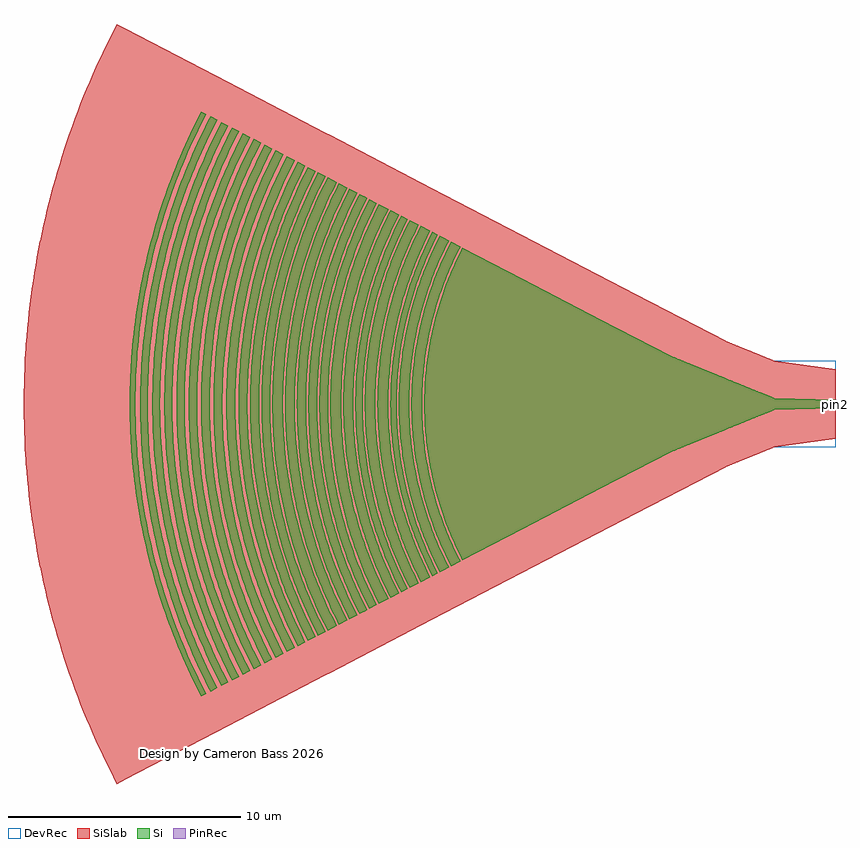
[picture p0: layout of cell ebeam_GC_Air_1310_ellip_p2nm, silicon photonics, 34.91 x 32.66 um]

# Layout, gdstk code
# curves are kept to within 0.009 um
import gdstk
lib = gdstk.Library(unit=1e-6, precision=1e-09)
def P(c, l, *ps):  # polygons
    for p in ps: c.add(gdstk.Polygon(p, *l))
Si = (1, 0)
PinRec = (1, 10)
SiSlab = (2, 0)
DevRec = (68, 0)

ebeam_gc_air_1310_ellip_ = lib.new_cell('ebeam_GC_Air_1310_ellip_p2nm')
P(ebeam_gc_air_1310_ellip_, Si, [(-16.049,-6.719),(-16.412,-5.97),(-16.786,-5.054),(-17.015,-4.385),(-17.28,-3.431),(-17.456,-2.601),(-17.583,-1.763),(-17.661,-0.918),(-17.689,-0.071),(-17.661,0.918),(-17.583,1.763),(-17.456,2.602),(-17.28,3.431),(-17.015,4.385),(-16.786,5.054),(-16.412,5.97),(-16.049,6.719),(-7.15,2.085),(-3.184,0.466),(-2.876,0.352),(-2.691,0.264),(-2.649,0.252),(0,0.175),(0,-0.175),(-2.676,-0.259),(-2.845,-0.339),(-3.199,-0.472),(-7.122,-2.072)],
  [(-16.541,-6.974),(-16.915,-6.2),(-17.252,-5.386),(-17.541,-4.554),(-17.781,-3.706),(-17.972,-2.846),(-18.112,-1.976),(-18.211,-0.954),(-18.241,-0.073),(-18.22,0.807),(-18.13,1.831),(-17.999,2.702),(-17.816,3.563),(-17.707,3.991),(-17.541,4.554),(-17.252,5.386),(-16.915,6.2),(-16.541,6.975),(-16.134,6.763),(-16.499,6.009),(-16.826,5.22),(-17.106,4.414),(-17.339,3.593),(-17.55,2.62),(-17.678,1.775),(-17.765,0.783),(-17.785,0.071),(-17.765,-0.783),(-17.678,-1.775),(-17.55,-2.619),(-17.373,-3.455),(-17.148,-4.278),(-16.876,-5.087),(-16.499,-6.009),(-16.134,-6.763)],
  [(-17.022,-7.225),(-17.409,-6.424),(-17.758,-5.581),(-18.057,-4.719),(-18.306,-3.84),(-18.503,-2.949),(-18.648,-2.048),(-18.741,-1.14),(-18.768,-0.684),(-18.782,-0.076),(-18.76,0.836),(-18.685,1.746),(-18.628,2.199),(-18.531,2.799),(-18.342,3.692),(-18.188,4.282),(-18.057,4.719),(-17.758,5.581),(-17.409,6.424),(-17.022,7.225),(-16.625,7.019),(-17.062,6.104),(-17.393,5.282),(-17.676,4.441),(-17.91,3.587),(-18.093,2.72),(-18.226,1.843),(-18.307,0.96),(-18.337,0.074),(-18.316,-0.812),(-18.226,-1.843),(-18.093,-2.72),(-17.91,-3.587),(-17.676,-4.441),(-17.393,-5.282),(-17.062,-6.104),(-16.625,-7.019)],
  [(-17.342,-7.392),(-17.738,-6.572),(-18.095,-5.71),(-18.401,-4.828),(-18.656,-3.929),(-18.858,-3.017),(-18.939,-2.557),(-19.026,-1.941),(-19.112,-1.011),(-19.143,-0.078),(-19.121,0.856),(-19.026,1.941),(-18.886,2.864),(-18.693,3.778),(-18.447,4.679),(-18.15,5.564),(-17.982,6),(-17.738,6.573),(-17.342,7.392),(-17.107,7.269),(-17.558,6.323),(-17.792,5.758),(-17.953,5.328),(-18.102,4.893),(-18.28,4.307),(-18.399,3.865),(-18.537,3.268),(-18.701,2.364),(-18.797,1.605),(-18.856,0.842),(-18.878,0.077),(-18.863,-0.689),(-18.812,-1.452),(-18.701,-2.364),(-18.568,-3.118),(-18.471,-3.567),(-18.321,-4.159),(-18.194,-4.601),(-18.004,-5.183),(-17.792,-5.757),(-17.558,-6.323),(-17.107,-7.269)],
  [(-17.838,-7.65),(-18.312,-6.655),(-18.673,-5.759),(-18.981,-4.843),(-19.235,-3.91),(-19.435,-2.964),(-19.579,-2.009),(-19.668,-1.046),(-19.701,-0.08),(-19.677,0.886),(-19.598,1.849),(-19.463,2.806),(-19.342,3.439),(-19.235,3.91),(-18.981,4.843),(-18.673,5.759),(-18.499,6.21),(-18.247,6.803),(-17.838,7.65),(-17.427,7.436),(-17.889,6.469),(-18.184,5.744),(-18.493,4.856),(-18.749,3.953),(-18.981,2.882),(-19.121,1.953),(-19.185,1.33),(-19.217,0.861),(-19.239,0.078),(-19.217,-0.861),(-19.185,-1.33),(-19.121,-1.953),(-18.981,-2.882),(-18.786,-3.801),(-18.539,-4.707),(-18.239,-5.597),(-17.889,-6.469),(-17.427,-7.436)],
  [(-18.318,-7.9),(-18.741,-7.024),(-19.001,-6.412),(-19.18,-5.947),(-19.499,-5.001),(-19.761,-4.037),(-19.967,-3.061),(-20.117,-2.074),(-20.208,-1.081),(-20.242,-0.083),(-20.218,0.915),(-20.136,1.909),(-19.996,2.897),(-19.8,3.876),(-19.637,4.522),(-19.499,5.001),(-19.18,5.947),(-19.001,6.412),(-18.741,7.025),(-18.318,7.9),(-17.924,7.695),(-18.336,6.842),(-18.528,6.396),(-18.764,5.792),(-19.074,4.871),(-19.33,3.934),(-19.531,2.982),(-19.676,2.021),(-19.766,1.053),(-19.799,0.081),(-19.775,-0.891),(-19.695,-1.86),(-19.559,-2.823),(-19.47,-3.301),(-19.33,-3.933),(-19.074,-4.87),(-18.764,-5.792),(-18.528,-6.395),(-18.336,-6.842),(-17.924,-7.695)],
  [(-18.68,-8.088),(-19.113,-7.191),(-19.504,-6.247),(-19.839,-5.282),(-20.031,-4.629),(-20.158,-4.133),(-20.369,-3.134),(-20.522,-2.123),(-20.616,-1.106),(-20.65,-0.085),(-20.626,0.936),(-20.542,1.955),(-20.399,2.966),(-20.271,3.635),(-20.158,4.133),(-20.031,4.629),(-19.839,5.282),(-19.504,6.247),(-19.113,7.191),(-18.68,8.088),(-18.403,7.945),(-18.689,7.368),(-18.963,6.757),(-19.152,6.293),(-19.384,5.665),(-19.542,5.188),(-19.73,4.546),(-19.894,3.898),(-20,3.408),(-20.145,2.584),(-20.25,1.754),(-20.315,0.92),(-20.339,0.084),(-20.315,-0.92),(-20.25,-1.754),(-20.145,-2.584),(-20,-3.408),(-19.894,-3.898),(-19.73,-4.546),(-19.542,-5.188),(-19.384,-5.665),(-19.152,-6.292),(-18.963,-6.757),(-18.689,-7.368),(-18.403,-7.944)],
  [(-19.138,-8.327),(-19.584,-7.404),(-19.859,-6.758),(-20.048,-6.268),(-20.383,-5.271),(-20.66,-4.255),(-20.877,-3.226),(-21.035,-2.186),(-21.131,-1.139),(-21.167,-0.088),(-21.157,0.614),(-21.131,1.139),(-21.035,2.186),(-20.877,3.226),(-20.66,4.255),(-20.383,5.271),(-20.048,6.268),(-19.655,7.244),(-19.438,7.722),(-19.138,8.327),(-18.766,8.133),(-19.202,7.231),(-19.47,6.6),(-19.654,6.121),(-19.982,5.147),(-20.253,4.157),(-20.465,3.152),(-20.619,2.136),(-20.713,1.113),(-20.748,0.086),(-20.723,-0.942),(-20.639,-1.966),(-20.495,-2.983),(-20.401,-3.488),(-20.253,-4.157),(-19.982,-5.147),(-19.654,-6.121),(-19.271,-7.074),(-19.059,-7.542),(-18.766,-8.133)],
  [(-19.637,-8.587),(-20.095,-7.637),(-20.51,-6.635),(-20.865,-5.61),(-21.161,-4.565),(-21.395,-3.506),(-21.568,-2.435),(-21.678,-1.355),(-21.709,-0.814),(-21.727,-0.09),(-21.701,0.994),(-21.611,2.076),(-21.46,3.15),(-21.324,3.86),(-21.204,4.39),(-20.919,5.437),(-20.695,6.125),(-20.51,6.635),(-20.095,7.637),(-19.637,8.587),(-19.224,8.372),(-19.672,7.443),(-20.077,6.466),(-20.257,5.969),(-20.476,5.299),(-20.712,4.45),(-20.94,3.418),(-21.109,2.374),(-21.187,1.673),(-21.228,1.145),(-21.264,0.088),(-21.259,-0.441),(-21.228,-1.145),(-21.131,-2.198),(-20.973,-3.244),(-20.754,-4.279),(-20.476,-5.298),(-20.257,-5.969),(-20.077,-6.466),(-19.672,-7.443),(-19.224,-8.372)],
  [(-20.052,-8.803),(-20.523,-7.827),(-20.948,-6.8),(-21.313,-5.749),(-21.616,-4.678),(-21.856,-3.593),(-22.033,-2.495),(-22.146,-1.389),(-22.178,-0.834),(-22.196,-0.093),(-22.169,1.019),(-22.078,2.127),(-22.008,2.679),(-21.89,3.411),(-21.66,4.499),(-21.472,5.217),(-21.313,5.749),(-20.948,6.8),(-20.523,7.827),(-20.052,8.803),(-19.726,8.633),(-19.957,8.171),(-20.261,7.511),(-20.472,7.008),(-20.73,6.328),(-20.962,5.639),(-21.167,4.941),(-21.344,4.237),(-21.46,3.703),(-21.617,2.808),(-21.731,1.906),(-21.802,1),(-21.828,0.091),(-21.818,-0.636),(-21.749,-1.725),(-21.644,-2.628),(-21.46,-3.703),(-21.344,-4.236),(-21.167,-4.941),(-20.962,-5.638),(-20.73,-6.328),(-20.472,-7.007),(-20.261,-7.51),(-19.957,-8.171),(-19.726,-8.633)],
  [(-20.472,-9.022),(-20.956,-8.02),(-21.392,-6.967),(-21.765,-5.891),(-22.076,-4.794),(-22.207,-4.239),(-22.357,-3.495),(-22.527,-2.368),(-22.632,-1.234),(-22.671,-0.095),(-22.643,1.044),(-22.549,2.18),(-22.39,3.308),(-22.286,3.868),(-22.121,4.61),(-21.821,5.71),(-21.648,6.252),(-21.392,6.967),(-20.956,8.02),(-20.472,9.022),(-20.138,8.848),(-20.456,8.205),(-20.761,7.525),(-21.039,6.834),(-21.23,6.308),(-21.405,5.778),(-21.615,5.063),(-21.798,4.341),(-21.916,3.795),(-22.077,2.877),(-22.194,1.953),(-22.266,1.024),(-22.293,0.093),(-22.275,-0.838),(-22.212,-1.768),(-22.104,-2.693),(-21.916,-3.795),(-21.798,-4.341),(-21.615,-5.063),(-21.405,-5.778),(-21.23,-6.308),(-20.972,-7.007),(-20.761,-7.525),(-20.456,-8.205),(-20.138,-8.848)],
  [(-20.907,-9.248),(-21.404,-8.218),(-21.85,-7.14),(-22.233,-6.037),(-22.552,-4.913),(-22.686,-4.344),(-22.84,-3.581),(-23.015,-2.427),(-23.122,-1.264),(-23.161,-0.097),(-23.156,0.487),(-23.122,1.264),(-23.015,2.427),(-22.84,3.582),(-22.598,4.724),(-22.291,5.851),(-21.919,6.958),(-21.483,8.041),(-21.241,8.572),(-20.907,9.248),(-20.562,9.068),(-20.89,8.406),(-21.202,7.709),(-21.487,7.001),(-21.683,6.463),(-21.863,5.919),(-22.078,5.187),(-22.221,4.633),(-22.386,3.888),(-22.551,2.948),(-22.671,2.001),(-22.745,1.05),(-22.773,0.096),(-22.754,-0.859),(-22.69,-1.811),(-22.579,-2.759),(-22.386,-3.888),(-22.221,-4.633),(-22.078,-5.187),(-21.863,-5.919),(-21.683,-6.463),(-21.487,-7.001),(-21.202,-7.709),(-20.89,-8.406),(-20.562,-9.068)],
  [(-21.358,-9.483),(-21.701,-8.791),(-21.948,-8.245),(-22.18,-7.693),(-22.395,-7.135),(-22.777,-6),(-23.092,-4.844),(-23.34,-3.673),(-23.519,-2.489),(-23.629,-1.296),(-23.669,-0.1),(-23.664,0.499),(-23.629,1.297),(-23.519,2.489),(-23.34,3.673),(-23.092,4.844),(-22.777,6),(-22.395,7.135),(-22.18,7.694),(-21.948,8.246),(-21.701,8.791),(-21.358,9.483),(-20.992,9.292),(-21.492,8.258),(-21.941,7.174),(-22.326,6.065),(-22.494,5.503),(-22.692,4.747),(-22.935,3.599),(-23.111,2.439),(-23.218,1.271),(-23.247,0.685),(-23.258,0.098),(-23.239,-0.88),(-23.173,-1.856),(-23.06,-2.827),(-22.862,-3.983),(-22.692,-4.747),(-22.494,-5.503),(-22.326,-6.065),(-22.076,-6.807),(-21.798,-7.538),(-21.571,-8.079),(-21.244,-8.789),(-20.992,-9.292)],
  [(-21.846,-9.736),(-22.108,-9.213),(-22.45,-8.468),(-22.688,-7.901),(-22.909,-7.327),(-23.114,-6.748),(-23.301,-6.162),(-23.472,-5.571),(-23.625,-4.975),(-23.761,-4.375),(-23.879,-3.772),(-23.98,-3.165),(-24.063,-2.556),(-24.176,-1.331),(-24.206,-0.717),(-24.217,-0.102),(-24.188,1.127),(-24.087,2.353),(-23.98,3.165),(-23.879,3.772),(-23.761,4.375),(-23.625,4.975),(-23.472,5.572),(-23.301,6.162),(-23.114,6.748),(-22.909,7.328),(-22.688,7.901),(-22.45,8.468),(-22.108,9.213),(-21.846,9.737),(-21.443,9.527),(-21.955,8.467),(-22.415,7.356),(-22.81,6.219),(-23.138,5.063),(-23.277,4.477),(-23.398,3.888),(-23.59,2.7),(-23.712,1.503),(-23.747,0.902),(-23.766,0.1),(-23.737,-1.103),(-23.679,-1.903),(-23.615,-2.501),(-23.435,-3.691),(-23.186,-4.868),(-22.869,-6.028),(-22.486,-7.168),(-22.036,-8.284),(-21.788,-8.832),(-21.443,-9.527)],
  [(-22.26,-9.952),(-22.793,-8.846),(-23.042,-8.269),(-23.274,-7.685),(-23.488,-7.095),(-23.748,-6.298),(-24.079,-5.085),(-24.338,-3.855),(-24.441,-3.235),(-24.526,-2.612),(-24.593,-1.987),(-24.642,-1.361),(-24.684,-0.105),(-24.678,0.524),(-24.654,1.152),(-24.551,2.404),(-24.472,3.028),(-24.375,3.649),(-24.26,4.267),(-24.079,5.085),(-23.748,6.298),(-23.556,6.897),(-23.274,7.685),(-23.042,8.27),(-22.793,8.847),(-22.26,9.952),(-21.931,9.781),(-22.283,9.069),(-22.538,8.507),(-22.853,7.746),(-23.07,7.167),(-23.27,6.583),(-23.509,5.795),(-23.669,5.199),(-23.855,4.396),(-23.974,3.79),(-24.075,3.18),(-24.204,2.159),(-24.284,1.132),(-24.314,0.103),(-24.308,-0.515),(-24.284,-1.132),(-24.204,-2.159),(-24.075,-3.18),(-23.974,-3.79),(-23.855,-4.396),(-23.669,-5.199),(-23.509,-5.794),(-23.27,-6.582),(-23.07,-7.167),(-22.777,-7.937),(-22.538,-8.506),(-22.283,-9.069),(-21.931,-9.781)],
  [(-22.694,-10.178),(-22.97,-9.628),(-23.241,-9.045),(-23.496,-8.455),(-23.733,-7.858),(-23.952,-7.254),(-24.154,-6.644),(-24.396,-5.822),(-24.556,-5.199),(-24.698,-4.572),(-24.821,-3.942),(-24.927,-3.308),(-25.014,-2.671),(-25.082,-2.032),(-25.132,-1.391),(-25.163,-0.75),(-25.175,-0.107),(-25.169,0.536),(-25.144,1.178),(-25.101,1.819),(-25.039,2.458),(-24.958,3.096),(-24.859,3.731),(-24.698,4.572),(-24.556,5.199),(-24.396,5.822),(-24.217,6.44),(-24.021,7.052),(-23.808,7.658),(-23.577,8.257),(-23.328,8.85),(-22.97,9.628),(-22.694,10.178),(-22.348,9.998),(-22.709,9.269),(-22.97,8.694),(-23.292,7.916),(-23.513,7.325),(-23.782,6.527),(-23.962,5.922),(-24.126,5.312),(-24.316,4.493),(-24.508,3.459),(-24.651,2.416),(-24.742,1.367),(-24.773,0.737),(-24.785,0.105),(-24.765,-0.947),(-24.728,-1.577),(-24.673,-2.206),(-24.541,-3.25),(-24.358,-4.287),(-24.225,-4.904),(-24.019,-5.719),(-23.782,-6.527),(-23.513,-7.325),(-23.292,-7.916),(-22.97,-8.694),(-22.709,-9.269),(-22.348,-9.998)],
  [(-23.126,-10.403),(-23.411,-9.835),(-23.688,-9.24),(-23.948,-8.637),(-24.191,-8.027),(-24.415,-7.41),(-24.622,-6.787),(-24.81,-6.158),(-24.98,-5.523),(-25.131,-4.885),(-25.264,-4.242),(-25.378,-3.595),(-25.473,-2.946),(-25.549,-2.294),(-25.621,-1.421),(-25.653,-0.766),(-25.665,-0.109),(-25.659,0.547),(-25.634,1.203),(-25.589,1.858),(-25.526,2.511),(-25.443,3.163),(-25.304,4.027),(-25.177,4.671),(-25.032,5.311),(-24.868,5.948),(-24.686,6.578),(-24.486,7.204),(-24.268,7.823),(-24.031,8.435),(-23.777,9.04),(-23.506,9.638),(-23.126,10.403),(-22.796,10.232),(-23.167,9.481),(-23.52,8.696),(-23.764,8.098),(-23.99,7.493),(-24.265,6.677),(-24.45,6.058),(-24.669,5.226),(-24.812,4.596),(-25.009,3.538),(-25.102,2.899),(-25.177,2.257),(-25.26,1.184),(-25.292,0.108),(-25.271,-0.969),(-25.177,-2.257),(-25.009,-3.538),(-24.812,-4.596),(-24.669,-5.226),(-24.45,-6.058),(-24.265,-6.677),(-23.99,-7.493),(-23.764,-8.098),(-23.434,-8.893),(-23.167,-9.481),(-22.796,-10.231)],
  [(-23.595,-10.648),(-23.89,-10.06),(-24.174,-9.452),(-24.44,-8.835),(-24.688,-8.211),(-24.918,-7.58),(-25.129,-6.943),(-25.322,-6.299),(-25.496,-5.65),(-25.651,-4.996),(-25.786,-4.339),(-25.938,-3.456),(-26.029,-2.791),(-26.1,-2.123),(-26.152,-1.454),(-26.185,-0.783),(-26.198,-0.112),(-26.191,0.56),(-26.165,1.231),(-26.12,1.901),(-26.055,2.569),(-25.97,3.235),(-25.866,3.899),(-25.698,4.778),(-25.549,5.433),(-25.382,6.084),(-25.195,6.729),(-24.99,7.369),(-24.767,8.002),(-24.525,8.628),(-24.265,9.247),(-23.987,9.859),(-23.595,10.648),(-23.254,10.47),(-23.542,9.896),(-23.91,9.096),(-24.166,8.487),(-24.479,7.664),(-24.693,7.039),(-24.95,6.196),(-25.174,5.345),(-25.32,4.701),(-25.522,3.618),(-25.671,2.527),(-25.734,1.87),(-25.779,1.211),(-25.811,0.11),(-25.79,-0.991),(-25.752,-1.65),(-25.694,-2.308),(-25.556,-3.401),(-25.447,-4.052),(-25.32,-4.701),(-25.174,-5.345),(-24.95,-6.196),(-24.693,-7.038),(-24.479,-7.663),(-24.166,-8.487),(-23.91,-9.096),(-23.542,-9.896),(-23.254,-10.47)],
  [(-24.078,-10.899),(-24.383,-10.292),(-24.673,-9.669),(-24.946,-9.038),(-25.2,-8.4),(-25.435,-7.755),(-25.719,-6.884),(-25.91,-6.224),(-26.081,-5.558),(-26.233,-4.888),(-26.366,-4.214),(-26.479,-3.536),(-26.572,-2.855),(-26.645,-2.172),(-26.698,-1.487),(-26.732,-0.801),(-26.745,-0.114),(-26.738,0.573),(-26.712,1.259),(-26.665,1.944),(-26.572,2.856),(-26.479,3.536),(-26.366,4.214),(-26.233,4.888),(-26.081,5.558),(-25.91,6.224),(-25.719,6.884),(-25.435,7.755),(-25.2,8.4),(-24.946,9.039),(-24.673,9.669),(-24.383,10.292),(-24.078,10.899),(-23.742,10.724),(-24.137,9.927),(-24.417,9.311),(-24.763,8.478),(-25,7.845),(-25.288,6.99),(-25.482,6.342),(-25.712,5.471),(-25.861,4.812),(-26.068,3.704),(-26.221,2.587),(-26.319,1.464),(-26.352,0.789),(-26.365,0.113),(-26.343,-1.014),(-26.303,-1.689),(-26.245,-2.363),(-26.103,-3.481),(-25.907,-4.591),(-25.764,-5.252),(-25.543,-6.125),(-25.288,-6.99),(-25,-7.845),(-24.763,-8.478),(-24.417,-9.311),(-24.04,-10.13),(-23.742,-10.724)],
  [(-24.548,-11.144),(-24.862,-10.52),(-25.159,-9.883),(-25.438,-9.238),(-25.697,-8.586),(-25.938,-7.926),(-26.159,-7.26),(-26.423,-6.362),(-26.599,-5.681),(-26.754,-4.996),(-26.89,-4.307),(-27.005,-3.614),(-27.1,-2.919),(-27.175,-2.22),(-27.23,-1.52),(-27.264,-0.819),(-27.277,-0.117),(-27.264,0.819),(-27.23,1.521),(-27.175,2.221),(-27.1,2.919),(-27.005,3.614),(-26.89,4.307),(-26.754,4.996),(-26.599,5.681),(-26.423,6.362),(-26.159,7.26),(-25.938,7.926),(-25.697,8.586),(-25.438,9.239),(-25.159,9.883),(-24.862,10.52),(-24.548,11.144),(-24.223,10.975),(-24.631,10.154),(-24.918,9.524),(-25.186,8.886),(-25.514,8.024),(-25.809,7.15),(-26.007,6.488),(-26.187,5.819),(-26.395,4.922),(-26.607,3.789),(-26.763,2.646),(-26.864,1.498),(-26.897,0.807),(-26.91,0.115),(-26.904,-0.576),(-26.877,-1.268),(-26.787,-2.417),(-26.707,-3.104),(-26.607,-3.789),(-26.395,-4.922),(-26.187,-5.819),(-26.007,-6.487),(-25.809,-7.15),(-25.514,-8.024),(-25.186,-8.886),(-24.918,-9.524),(-24.631,-10.154),(-24.223,-10.975)],
  [(-25.021,-11.39),(-25.343,-10.75),(-25.647,-10.1),(-25.931,-9.441),(-26.197,-8.774),(-26.442,-8.1),(-26.668,-7.419),(-26.875,-6.731),(-27.061,-6.037),(-27.226,-5.339),(-27.372,-4.636),(-27.496,-3.93),(-27.601,-3.22),(-27.684,-2.507),(-27.747,-1.792),(-27.798,-0.837),(-27.812,-0.12),(-27.805,0.598),(-27.777,1.315),(-27.728,2.031),(-27.659,2.745),(-27.568,3.457),(-27.416,4.401),(-27.277,5.106),(-27.118,5.805),(-26.939,6.501),(-26.739,7.191),(-26.52,7.874),(-26.197,8.774),(-25.931,9.441),(-25.647,10.1),(-25.343,10.75),(-25.021,11.39),(-24.703,11.225),(-25.122,10.382),(-25.415,9.738),(-25.689,9.086),(-26.025,8.205),(-26.254,7.536),(-26.529,6.634),(-26.713,5.951),(-26.926,5.033),(-27.142,3.874),(-27.302,2.706),(-27.371,2.002),(-27.419,1.296),(-27.453,0.118),(-27.446,-0.589),(-27.419,-1.296),(-27.327,-2.471),(-27.179,-3.641),(-27.063,-4.339),(-26.926,-5.033),(-26.713,-5.951),(-26.529,-6.633),(-26.254,-7.536),(-26.025,-8.205),(-25.689,-9.086),(-25.415,-9.738),(-25.02,-10.595),(-24.703,-11.224)],
  [(-25.483,-11.63),(-25.812,-10.976),(-26.122,-10.312),(-26.412,-9.639),(-26.683,-8.958),(-26.934,-8.27),(-27.165,-7.575),(-27.376,-6.873),(-27.566,-6.164),(-27.787,-5.213),(-27.928,-4.494),(-28.049,-3.771),(-28.148,-3.045),(-28.226,-2.317),(-28.283,-1.586),(-28.318,-0.855),(-28.333,-0.122),(-28.318,0.855),(-28.283,1.586),(-28.226,2.317),(-28.148,3.045),(-28.049,3.771),(-27.928,4.494),(-27.787,5.213),(-27.624,5.927),(-27.441,6.638),(-27.238,7.341),(-27.014,8.039),(-26.769,8.73),(-26.505,9.413),(-26.221,10.089),(-25.812,10.976),(-25.483,11.63),(-25.177,11.471),(-25.606,10.609),(-25.905,9.951),(-26.275,9.061),(-26.529,8.384),(-26.837,7.471),(-27.044,6.779),(-27.232,6.081),(-27.399,5.378),(-27.545,4.67),(-27.671,3.959),(-27.834,2.765),(-27.904,2.046),(-27.953,1.325),(-27.988,0.121),(-27.965,-1.084),(-27.923,-1.805),(-27.86,-2.525),(-27.776,-3.243),(-27.671,-3.958),(-27.45,-5.142),(-27.232,-6.081),(-27.044,-6.778),(-26.837,-7.471),(-26.529,-8.384),(-26.275,-9.061),(-25.905,-9.951),(-25.606,-10.609),(-25.177,-11.471)],
  [(-25.948,-11.872),(-26.284,-11.204),(-26.601,-10.526),(-26.897,-9.84),(-27.174,-9.145),(-27.43,-8.442),(-27.666,-7.732),(-27.881,-7.016),(-28.075,-6.292),(-28.3,-5.321),(-28.445,-4.587),(-28.567,-3.849),(-28.669,-3.108),(-28.749,-2.365),(-28.807,-1.619),(-28.843,-0.872),(-28.857,-0.125),(-28.843,0.872),(-28.807,1.619),(-28.749,2.365),(-28.669,3.109),(-28.567,3.85),(-28.445,4.587),(-28.3,5.321),(-28.134,6.05),(-27.948,6.776),(-27.74,7.494),(-27.511,8.206),(-27.262,8.911),(-26.992,9.609),(-26.601,10.526),(-26.284,11.204),(-25.948,11.873),(-25.647,11.716),(-25.979,11.057),(-26.391,10.163),(-26.677,9.482),(-27.028,8.562),(-27.267,7.864),(-27.555,6.923),(-27.805,5.972),(-27.969,5.252),(-28.194,4.043),(-28.361,2.824),(-28.433,2.089),(-28.483,1.353),(-28.519,0.123),(-28.511,-0.615),(-28.483,-1.353),(-28.387,-2.579),(-28.232,-3.799),(-28.111,-4.527),(-27.969,-5.252),(-27.805,-5.972),(-27.555,-6.922),(-27.267,-7.864),(-27.028,-8.562),(-26.677,-9.482),(-26.391,-10.162),(-25.979,-11.056),(-25.647,-11.716)],
  [(-26.407,-12.111),(-26.75,-11.429),(-27.073,-10.738),(-27.375,-10.037),(-27.657,-9.328),(-27.919,-8.611),(-28.159,-7.887),(-28.378,-7.156),(-28.576,-6.419),(-28.752,-5.676),(-28.907,-4.929),(-29.04,-4.178),(-29.15,-3.423),(-29.239,-2.665),(-29.306,-1.905),(-29.36,-0.89),(-29.375,-0.127),(-29.367,0.636),(-29.338,1.398),(-29.286,2.159),(-29.212,2.919),(-29.116,3.675),(-28.954,4.679),(-28.806,5.428),(-28.637,6.172),(-28.447,6.912),(-28.235,7.645),(-28.001,8.371),(-27.747,9.09),(-27.472,9.802),(-27.073,10.738),(-26.75,11.429),(-26.407,12.111),(-26.116,11.96),(-26.455,11.287),(-26.774,10.604),(-27.073,9.912),(-27.44,8.977),(-27.691,8.266),(-27.994,7.308),(-28.259,6.339),(-28.433,5.607),(-28.586,4.869),(-28.717,4.127),(-28.887,2.883),(-28.997,1.632),(-29.033,0.879),(-29.048,0.126),(-29.04,-0.628),(-29.011,-1.381),(-28.914,-2.633),(-28.826,-3.381),(-28.717,-4.127),(-28.586,-4.869),(-28.433,-5.607),(-28.259,-6.339),(-27.994,-7.308),(-27.691,-8.266),(-27.44,-8.976),(-27.073,-9.912),(-26.774,-10.604),(-26.455,-11.286),(-26.116,-11.96)],
  [(-26.877,-12.356),(-27.332,-11.44),(-27.654,-10.731),(-27.956,-10.012),(-28.237,-9.285),(-28.496,-8.551),(-28.734,-7.809),(-28.95,-7.06),(-29.145,-6.304),(-29.317,-5.544),(-29.467,-4.78),(-29.595,-4.011),(-29.701,-3.239),(-29.783,-2.464),(-29.844,-1.687),(-29.882,-0.909),(-29.897,-0.13),(-29.882,0.909),(-29.844,1.687),(-29.783,2.464),(-29.701,3.239),(-29.595,4.011),(-29.467,4.78),(-29.317,5.545),(-29.145,6.304),(-28.95,7.06),(-28.734,7.809),(-28.496,8.551),(-28.237,9.286),(-27.956,10.012),(-27.654,10.731),(-27.332,11.44),(-26.877,12.357),(-26.583,12.204),(-27.04,11.285),(-27.359,10.585),(-27.752,9.638),(-28.022,8.918),(-28.271,8.191),(-28.499,7.456),(-28.77,6.469),(-28.947,5.721),(-29.195,4.463),(-29.314,3.704),(-29.411,2.941),(-29.485,2.176),(-29.537,1.409),(-29.575,0.128),(-29.55,-1.153),(-29.505,-1.92),(-29.438,-2.686),(-29.277,-3.957),(-29.15,-4.716),(-29.002,-5.47),(-28.77,-6.468),(-28.57,-7.21),(-28.35,-7.947),(-28.022,-8.918),(-27.752,-9.638),(-27.359,-10.585),(-27.04,-11.285),(-26.583,-12.203)],
  [(-27.275,-12.564),(-27.631,-11.854),(-27.966,-11.137),(-28.279,-10.411),(-28.571,-9.675),(-28.828,-8.973),(-29.091,-8.181),(-29.318,-7.423),(-29.523,-6.658),(-29.705,-5.888),(-29.865,-5.113),(-30.003,-4.333),(-30.118,-3.551),(-30.235,-2.502),(-30.291,-1.794),(-30.335,-0.923),(-30.35,-0.132),(-30.342,0.659),(-30.312,1.45),(-30.258,2.24),(-30.151,3.289),(-30.044,4.073),(-29.914,4.854),(-29.761,5.63),(-29.586,6.402),(-29.389,7.169),(-29.169,7.929),(-28.928,8.683),(-28.664,9.429),(-28.379,10.167),(-27.966,11.138),(-27.631,11.855),(-27.275,12.564),(-27.062,12.453),(-27.407,11.765),(-27.739,11.054),(-28.149,10.09),(-28.432,9.357),(-28.694,8.617),(-28.934,7.869),(-29.22,6.861),(-29.408,6.1),(-29.673,4.818),(-29.802,4.043),(-29.908,3.265),(-29.992,2.484),(-30.053,1.701),(-30.091,0.916),(-30.106,0.131),(-30.081,-1.178),(-30.035,-1.962),(-29.966,-2.744),(-29.875,-3.524),(-29.761,-4.302),(-29.625,-5.075),(-29.466,-5.844),(-29.285,-6.609),(-29.082,-7.366),(-28.856,-8.119),(-28.522,-9.111),(-28.246,-9.847),(-27.845,-10.814),(-27.52,-11.529),(-27.062,-12.453)])
P(ebeam_gc_air_1310_ellip_, SiSlab, [(-30.904,-16.329),(-31.366,-15.41),(-31.801,-14.477),(-32.208,-13.533),(-32.588,-12.577),(-32.94,-11.61),(-33.264,-10.634),(-33.559,-9.648),(-33.825,-8.655),(-34.062,-7.654),(-34.27,-6.647),(-34.449,-5.634),(-34.598,-4.616),(-34.717,-3.594),(-34.807,-2.569),(-34.867,-1.543),(-34.9,-0.171),(-34.89,0.857),(-34.85,1.885),(-34.781,2.912),(-34.681,3.935),(-34.552,4.956),(-34.393,5.972),(-34.135,7.319),(-33.907,8.322),(-33.651,9.318),(-33.365,10.307),(-33.051,11.286),(-32.709,12.256),(-32.338,13.216),(-31.94,14.164),(-31.366,15.41),(-30.904,16.329),(-4.744,2.708),(-2.65,1.855),(0,1.5),(0,-1.5),(-2.65,-1.855),(-4.728,-2.7)])
P(ebeam_gc_air_1310_ellip_, DevRec, [(-30.904,-16.329),(-31.366,-15.41),(-31.801,-14.477),(-32.208,-13.533),(-32.588,-12.577),(-32.94,-11.61),(-33.264,-10.634),(-33.559,-9.648),(-33.825,-8.655),(-34.062,-7.654),(-34.27,-6.647),(-34.449,-5.634),(-34.598,-4.616),(-34.717,-3.594),(-34.807,-2.569),(-34.867,-1.543),(-34.9,-0.171),(-34.89,0.857),(-34.85,1.885),(-34.781,2.912),(-34.681,3.935),(-34.552,4.956),(-34.393,5.972),(-34.135,7.319),(-33.907,8.322),(-33.651,9.318),(-33.365,10.307),(-33.051,11.286),(-32.709,12.256),(-32.338,13.216),(-31.94,14.164),(-31.366,15.41),(-30.904,16.329),(-4.744,2.708),(-2.65,1.855),(0,1.855),(0,-1.855),(-2.65,-1.855),(-4.728,-2.7)])
ebeam_gc_air_1310_ellip_.add(gdstk.FlexPath([(-0.01,0),(0.01,0)], 0.35, ends="flush", simple_path=True, layer=1, datatype=10))  # PinRec
ebeam_gc_air_1310_ellip_.add(gdstk.Label('pin2', (0,0), layer=1, texttype=10))
ebeam_gc_air_1310_ellip_.add(gdstk.Label('Design by Cameron Bass 2026', (-25.94,-15.02), layer=10, texttype=0))

lib.write_gds('ebeam_GC_Air_1310_ellip_p2nm.gds')
